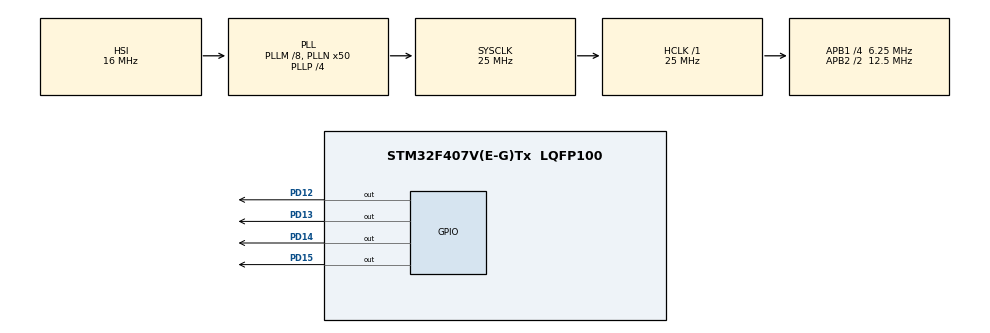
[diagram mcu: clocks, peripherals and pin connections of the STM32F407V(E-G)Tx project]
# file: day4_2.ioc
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FREERTOS.Tasks01=defaultTask,0,128,StartDefaultTask,Default,NULL,Dynamic,NULL,NULL;myTask02,-3,128,StartTask02,Default,NULL,Dynamic,NULL,NULL
FREERTOS.configUSE_NEWLIB_REENTRANT=1
Mcu.Family=STM32F4
Mcu.Name=STM32F407V(E-G)Tx
Mcu.Package=LQFP100
NVIC.PriorityGroup=NVIC_PRIORITYGROUP_4
NVIC.TIM1_UP_TIM10_IRQn=true\:15\:0\:false\:false\:true\:false\:false\:true\:true
NVIC.TimeBase=TIM1_UP_TIM10_IRQn
NVIC.TimeBaseIP=TIM1
PD12.Signal=GPIO_Output
PD13.Signal=GPIO_Output
PD14.Signal=GPIO_Output
PD15.Signal=GPIO_Output
ProjectManager.HeapSize=0x200
ProjectManager.StackSize=0x400
ProjectManager.TargetToolchain=STM32CubeIDE
RCC.48MHZClocksFreq_Value=14285714.285714285
RCC.AHBFreq_Value=25000000
RCC.APB1CLKDivider=RCC_HCLK_DIV4
RCC.APB1Freq_Value=6250000
RCC.APB1TimFreq_Value=12500000
RCC.APB2CLKDivider=RCC_HCLK_DIV2
RCC.APB2Freq_Value=12500000
RCC.APB2TimFreq_Value=25000000
RCC.CortexFreq_Value=25000000
RCC.HCLKFreq_Value=25000000
RCC.HSE_VALUE=8000000
RCC.HSI_VALUE=16000000
RCC.LSE_VALUE=32768
RCC.PLLM=8
RCC.PLLN=50
RCC.PLLP=RCC_PLLP_DIV4
RCC.PLLQ=7
RCC.SYSCLKFreq_VALUE=25000000
RCC.SYSCLKSource=RCC_SYSCLKSOURCE_PLLCLK
RCC.VCOOutputFreq_Value=100000000
VP_FREERTOS_VS_CMSIS_V1.Mode=CMSIS_V1
VP_SYS_VS_tim1.Mode=TIM1
board=STM32F407G-DISC1

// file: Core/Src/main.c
/* USER CODE BEGIN Header */
/**
  ******************************************************************************
  * @file           : main.c
  * @brief          : Main program body
  ******************************************************************************
  * @attention
  *
  * Copyright (c) 2024 STMicroelectronics.
  * All rights reserved.
  *
  * This software is licensed under terms that can be found in the LICENSE file
  * in the root directory of this software component.
  * If no LICENSE file comes with this software, it is provided AS-IS.
  *
  ******************************************************************************
  */
/* USER CODE END Header */
#include "main.h"
#include "cmsis_os.h"

osThreadId defaultTaskHandle;
osThreadId myTask02Handle;

void SystemClock_Config(void);
static void MX_GPIO_Init(void);
void StartDefaultTask(void const * argument);
void StartTask02(void const * argument);

/* USER CODE BEGIN 0 */
void vLedTask(void *pvParam)
{
	uint16_t pin = (uint32_t)pvParam;
	while(1)
	{
		HAL_GPIO_TogglePin(GPIOD, pin);
		vTaskDelay(2000 / portTICK_RATE_MS);
	}
	vTaskDelete(NULL);
}
/* USER CODE END 0 */

int main(void)
{

  /* USER CODE BEGIN 1 */
	BaseType_t xRet;
  /* USER CODE END 1 */

  /* MCU Configuration--------------------------------------------------------*/

  /* Reset of all peripherals, Initializes the Flash interface and the Systick. */
  HAL_Init();

  /* Configure the system clock */
  SystemClock_Config();

  /* Initialize all configured peripherals */
  MX_GPIO_Init();

  /* Create the thread(s) */
  /* definition and creation of defaultTask */
  osThreadDef(defaultTask, StartDefaultTask, osPriorityNormal, 0, 128);
  defaultTaskHandle = osThreadCreate(osThread(defaultTask), NULL);

  /* definition and creation of myTask02 */
  osThreadDef(myTask02, StartTask02, osPriorityIdle, 0, 128);
  myTask02Handle = osThreadCreate(osThread(myTask02), NULL);

  /* USER CODE BEGIN RTOS_THREADS */
  /* add threads, ... */
  xRet = xTaskCreate(vLedTask, "Task1", configMINIMAL_STACK_SIZE , (void *)GPIO_PIN_12, 4, NULL);
  if(xRet != pdTRUE)
	  Error_Handler();

  xRet = xTaskCreate(vLedTask, "Task2", configMINIMAL_STACK_SIZE , (void *)GPIO_PIN_13, 4, NULL);
  if(xRet != pdTRUE)
	  Error_Handler();

  xRet = xTaskCreate(vLedTask, "Task3", configMINIMAL_STACK_SIZE , (void *)GPIO_PIN_14, 4, NULL);
  if(xRet != pdTRUE)
	  Error_Handler();

  xRet = xTaskCreate(vLedTask, "Task4", configMINIMAL_STACK_SIZE , (void *)GPIO_PIN_15, 4, NULL);
  if(xRet != pdTRUE)
	  Error_Handler();
  /* USER CODE END RTOS_THREADS */

  /* Start scheduler */
  osKernelStart();

  /* We should never get here as control is now taken by the scheduler */

  /* Infinite loop */
  while (1)
  {

  }
}

void SystemClock_Config(void)
{
  RCC_OscInitTypeDef RCC_OscInitStruct = {0};
  RCC_ClkInitTypeDef RCC_ClkInitStruct = {0};

  /** Configure the main internal regulator output voltage
  */
  __HAL_RCC_PWR_CLK_ENABLE();
  __HAL_PWR_VOLTAGESCALING_CONFIG(PWR_REGULATOR_VOLTAGE_SCALE1);

  /** Initializes the RCC Oscillators according to the specified parameters
  * in the RCC_OscInitTypeDef structure.
  */
  RCC_OscInitStruct.OscillatorType = RCC_OSCILLATORTYPE_HSI;
  RCC_OscInitStruct.HSIState = RCC_HSI_ON;
  RCC_OscInitStruct.HSICalibrationValue = RCC_HSICALIBRATION_DEFAULT;
  RCC_OscInitStruct.PLL.PLLState = RCC_PLL_ON;
  RCC_OscInitStruct.PLL.PLLSource = RCC_PLLSOURCE_HSI;
  RCC_OscInitStruct.PLL.PLLM = 8;
  RCC_OscInitStruct.PLL.PLLN = 50;
  RCC_OscInitStruct.PLL.PLLP = RCC_PLLP_DIV4;
  RCC_OscInitStruct.PLL.PLLQ = 7;
  if (HAL_RCC_OscConfig(&RCC_OscInitStruct) != HAL_OK)
  {
    Error_Handler();
  }

  /** Initializes the CPU, AHB and APB buses clocks
  */
  RCC_ClkInitStruct.ClockType = RCC_CLOCKTYPE_HCLK|RCC_CLOCKTYPE_SYSCLK
                              |RCC_CLOCKTYPE_PCLK1|RCC_CLOCKTYPE_PCLK2;
  RCC_ClkInitStruct.SYSCLKSource = RCC_SYSCLKSOURCE_PLLCLK;
  RCC_ClkInitStruct.AHBCLKDivider = RCC_SYSCLK_DIV1;
  RCC_ClkInitStruct.APB1CLKDivider = RCC_HCLK_DIV4;
  RCC_ClkInitStruct.APB2CLKDivider = RCC_HCLK_DIV2;

  if (HAL_RCC_ClockConfig(&RCC_ClkInitStruct, FLASH_LATENCY_0) != HAL_OK)
  {
    Error_Handler();
  }
}

static void MX_GPIO_Init(void)
{
  GPIO_InitTypeDef GPIO_InitStruct = {0};

  /* GPIO Ports Clock Enable */
  __HAL_RCC_GPIOD_CLK_ENABLE();

  /*Configure GPIO pin Output Level */
  HAL_GPIO_WritePin(GPIOD, GPIO_PIN_12|GPIO_PIN_13|GPIO_PIN_14|GPIO_PIN_15, GPIO_PIN_RESET);

  /*Configure GPIO pins : PD12 PD13 PD14 PD15 */
  GPIO_InitStruct.Pin = GPIO_PIN_12|GPIO_PIN_13|GPIO_PIN_14|GPIO_PIN_15;
  GPIO_InitStruct.Mode = GPIO_MODE_OUTPUT_PP;
  GPIO_InitStruct.Pull = GPIO_NOPULL;
  GPIO_InitStruct.Speed = GPIO_SPEED_FREQ_LOW;
  HAL_GPIO_Init(GPIOD, &GPIO_InitStruct);

}

void StartDefaultTask(void const * argument)
{
  for(;;)
  {
    osDelay(1);
  }
}

void StartTask02(void const * argument)
{
  for(;;)
  {
    osDelay(1);
  }
}

void HAL_TIM_PeriodElapsedCallback(TIM_HandleTypeDef *htim)
{
  if (htim->Instance == TIM1) {
    HAL_IncTick();
  }
}

void Error_Handler(void)
{
  __disable_irq();
  while (1)
  {
  }
}
